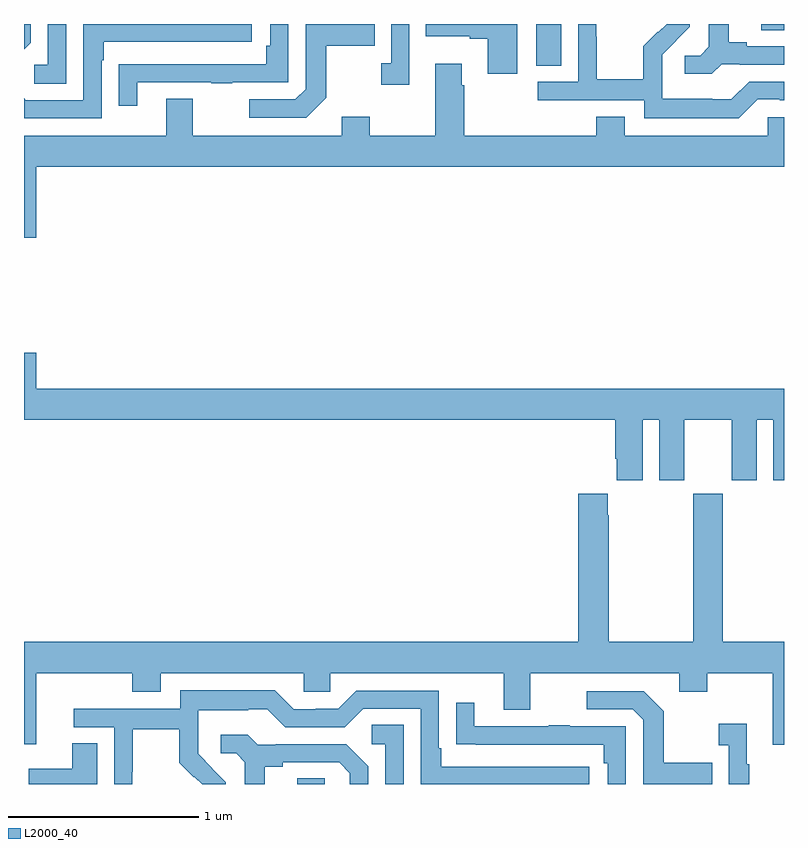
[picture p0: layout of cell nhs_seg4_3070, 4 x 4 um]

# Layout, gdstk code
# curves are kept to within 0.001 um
import gdstk
lib = gdstk.Library(unit=1e-6, precision=1e-09)
def R(c, l, rs):  # rectangles x0, y0, x1, y1
    for r in rs: c.add(gdstk.rectangle(r[:2], r[2:], *l))
def P(c, l, *ps):  # polygons
    for p in ps: c.add(gdstk.Polygon(p, *l))
L2000_40 = (2000, 40)

nhs_seg4_3070 = lib.new_cell('nhs_seg4_3070')
R(nhs_seg4_3070, L2000_40, [(274.439,798.9,274.584,798.929), (275.696,802.681,275.827,802.9), (276.881,802.867,277,802.9)])
P(nhs_seg4_3070, L2000_40, [(273.222,802.9),(273.126,802.9),(273.126,802.686),(273.054,802.686),(273.054,802.585),(273.222,802.585)],
  [(274.591,802.513),(274.591,802.786),(274.847,802.786),(274.847,802.9),(274.482,802.9),(274.482,802.557),(274.428,802.503),(274.185,802.503),(274.185,802.407),(274.485,802.407)],
  [(275.596,802.9),(275.115,802.9),(275.115,802.835),(275.345,802.835),(275.345,802.823),(275.441,802.823),(275.441,802.638),(275.596,802.638)],
  [(275.028,802.9),(274.932,802.9),(274.932,802.694),(274.881,802.694),(274.881,802.581),(275.028,802.581)],
  [(273.408,802.709),(273.421,802.709),(273.421,802.806),(274.198,802.806),(274.198,802.9),(273.312,802.9),(273.312,802.5),(273.009,802.5),(273,802.509),(273,802.404),(273.408,802.404)],
  [(273.595,802.593),(273.985,802.593),(273.985,802.588),(274.097,802.588),(274.097,802.593),(274.392,802.593),(274.392,802.9),(274.296,802.9),(274.296,802.786),(274.276,802.786),(274.276,802.689),(273.601,802.689),(273.601,802.688),(273.499,802.688),(273.499,802.47),(273.595,802.47)],
  [(276.861,802.503),(276.977,802.503),(276.977,802.5),(277,802.5),(277,802.596),(276.816,802.596),(276.723,802.503),(276.623,802.503),(276.623,802.507),(276.36,802.507),(276.36,802.641),(276.358,802.641),(276.358,802.738),(276.504,802.886),(276.504,802.9),(276.382,802.9),(276.339,802.857),(276.336,802.86),(276.259,802.783),(276.259,802.609),(276.015,802.609),(276.015,802.832),(276.012,802.832),(276.012,802.9),(275.916,802.9),(275.916,802.596),(275.703,802.596),(275.703,802.5),(276.264,802.5),(276.264,802.403),(276.761,802.403)],
  [(273.036,802.802),(273.036,802.9),(273,802.9),(273,802.766)],
  [(276.672,802.689),(276.766,802.689),(276.766,802.686),(277,802.686),(277,802.782),(276.805,802.782),(276.805,802.805),(276.709,802.805),(276.709,802.9),(276.605,802.9),(276.605,802.781),(276.558,802.734),(276.477,802.734),(276.477,802.637),(276.62,802.637)],
  [(277,802.41),(276.915,802.41),(276.915,802.312),(276.163,802.312),(276.163,802.411),(276.011,802.411),(276.011,802.312),(275.318,802.312),(275.318,802.577),(275.305,802.577),(275.305,802.69),(275.165,802.69),(275.165,802.312),(274.821,802.312),(274.821,802.411),(274.673,802.411),(274.673,802.312),(273.889,802.312),(273.889,802.507),(273.749,802.507),(273.749,802.312),(273,802.312),(273,801.774),(273.064,801.774),(273.064,802.148),(277,802.148)],
  [(276.256,800.816),(276.344,800.816),(276.344,800.499),(276.475,800.499),(276.475,800.816),(276.725,800.816),(276.725,800.499),(276.856,800.499),(276.856,800.816),(276.944,800.816),(276.944,800.499),(277,800.499),(277,800.98),(273.064,800.98),(273.064,801.169),(273,801.169),(273,800.816),(276.113,800.816),(276.113,800.611),(276.119,800.611),(276.119,800.499),(276.256,800.499)],
  [(277,799.648),(276.678,799.648),(276.678,800.428),(276.523,800.428),(276.523,799.648),(276.078,799.648),(276.078,800.315),(276.073,800.315),(276.073,800.428),(275.918,800.428),(275.918,799.648),(273,799.648),(273,799.11),(273.064,799.11),(273.064,799.484),(273.569,799.484),(273.569,799.385),(273.721,799.385),(273.721,799.484),(274.473,799.484),(274.473,799.386),(274.611,799.386),(274.611,799.484),(275.525,799.484),(275.525,799.29),(275.665,799.29),(275.665,799.484),(276.449,799.484),(276.449,799.385),(276.597,799.385),(276.597,799.484),(276.941,799.484),(276.941,799.107),(277,799.107)],
  [(273.57,798.964),(273.573,798.964),(273.573,799.188),(273.817,799.188),(273.817,799.013),(273.894,798.936),(273.897,798.939),(273.937,798.9),(274.062,798.9),(274.062,798.91),(273.916,799.058),(273.916,799.155),(273.918,799.155),(273.918,799.289),(274.181,799.289),(274.181,799.293),(274.281,799.293),(274.374,799.2),(274.689,799.2),(274.785,799.296),(275.088,799.296),(275.088,798.9),(275.974,798.9),(275.974,798.99),(275.197,798.99),(275.197,799.087),(275.184,799.087),(275.184,799.392),(274.749,799.392),(274.653,799.296),(274.535,799.296),(274.535,799.293),(274.419,799.293),(274.319,799.393),(273.822,799.393),(273.822,799.296),(273.261,799.296),(273.261,799.2),(273.474,799.2),(273.474,798.9),(273.57,798.9)],
  [(276.623,799.011),(276.367,799.011),(276.367,799.283),(276.261,799.389),(275.961,799.389),(275.961,799.293),(276.204,799.293),(276.258,799.239),(276.258,798.9),(276.623,798.9)],
  [(276.168,799.203),(275.873,799.203),(275.873,799.208),(275.761,799.208),(275.761,799.203),(275.371,799.203),(275.371,799.327),(275.275,799.327),(275.275,799.108),(275.377,799.108),(275.377,799.107),(276.052,799.107),(276.052,799.01),(276.072,799.01),(276.072,798.9),(276.168,798.9)],
  [(276.817,799.003),(276.805,799.003),(276.805,799.216),(276.657,799.216),(276.657,799.103),(276.708,799.103),(276.708,798.9),(276.817,798.9)],
  [(274.998,799.211),(274.83,799.211),(274.83,799.11),(274.902,799.11),(274.902,798.9),(274.998,798.9)],
  [(274.267,798.992),(274.363,798.992),(274.363,799.014),(274.658,799.014),(274.715,798.957),(274.715,798.9),(274.812,798.9),(274.812,798.994),(274.696,799.11),(274.324,799.11),(274.324,799.107),(274.23,799.107),(274.178,799.159),(274.035,799.159),(274.035,799.062),(274.116,799.062),(274.163,799.015),(274.163,798.9),(274.267,798.9)],
  [(273.385,799.115),(273.254,799.115),(273.254,798.979),(273.024,798.979),(273.024,798.9),(273.385,798.9)])

lib.write_gds('nhs_seg4_3070.gds')
